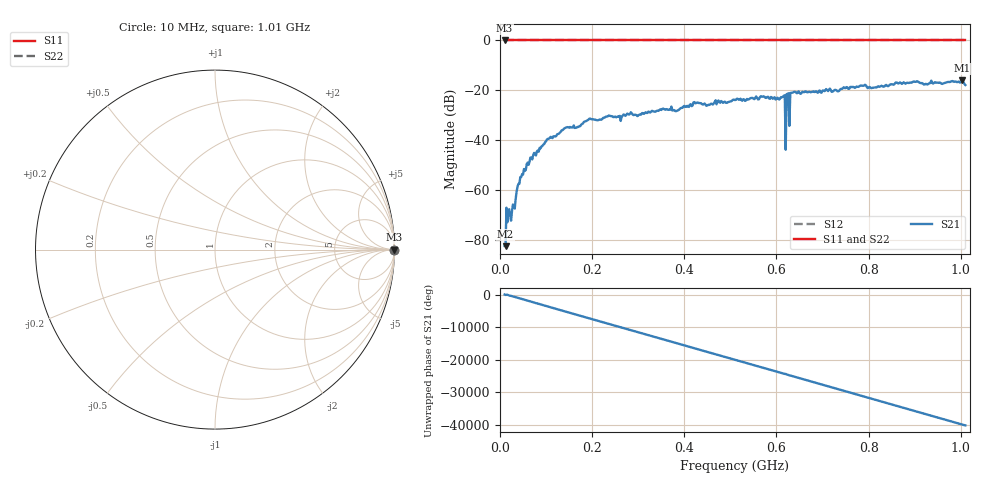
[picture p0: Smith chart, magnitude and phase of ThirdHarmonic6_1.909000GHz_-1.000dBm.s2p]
! 8/16/2025 11:02:04 PM
! C:\ANRITSUVNA\TEMP\TEMP.S2P
! CHANNEL.1
! TR.MEASUREMENT
! RAW.DATA
! RF.CORRECTION.OFF
! AVERAGING.OFF
! IF.BANDWIDTH: 5KHZ
! SWEEPTYPE:  FREQ.SWEEP(Linear)
! Reference Plane Port Info
! PORT:  PORT1  PORT2
! DISTANCE:  0  m  0  m
! TIME:  0  s  0  s
! PHASE.OFFSET:  0  deg.  0  deg.
! LOSS:  0  dB  0  dB
! REF.LOSS:  0  dB  0  dB
! REF.FREQ:  0  Hz  0  Hz
! Power Info
! POWER:  -20  dBm  -20  dBm
! EFF.POWER:  -20  dBm  -20  dBm
! SOURCE.ATTEN:  0  dB  0  dB
! TEST.ATTEN:  0  dB  0  dB
# GHZ S RI R 50.0
! FREQ.GHZ  S11RE  S11IM  S21RE  S21IM  S12RE  S12IM  S22RE  S22IM
!; PortSelection: Port_12
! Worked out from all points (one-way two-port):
!   501 points, 10 MHz to 1.01 GHz, reference 50 ohm
!   highest |S21| = -16.02 dB at 1.002 GHz (marker M1); lowest = -82.7 dB at 12 MHz (marker M2)
!   lowest |S11| = 0.0 dB at 10 MHz (marker M3)
!   |S11| at or under -10 dB: nowhere
!   |S22| runs from 0.0 to 0.0 dB; largest |S21 - S12| = 1.2
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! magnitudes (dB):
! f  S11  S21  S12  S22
! 10 MHz  0.0  -82.6  0.0  0.0
! 12 MHz  0.0  -82.7  0.0  0.0
! 18 MHz  0.0  -68.0  0.0  0.0
! 28 MHz  0.0  -65.9  0.0  0.0
! 42 MHz  0.0  -57.6  0.0  0.0
! 70 MHz  0.0  -47.8  0.0  0.0
! 106 MHz  0.0  -39.5  0.0  0.0
! 178 MHz  0.0  -33.6  0.0  0.0
! 196 MHz  0.0  -31.4  0.0  0.0
! 344 MHz  0.0  -28.3  0.0  0.0
! 510 MHz  0.0  -24.0  0.0  0.0
! 614 MHz  0.0  -22.6  0.0  0.0
! 616 MHz  0.0  -22.3  0.0  0.0
! 622 MHz  0.0  -21.6  0.0  0.0
! 624 MHz  0.0  -21.5  0.0  0.0
! 626 MHz  0.0  -21.2  0.0  0.0
! 632 MHz  0.0  -21.1  0.0  0.0
! 634 MHz  0.0  -21.0  0.0  0.0
! 678 MHz  0.0  -20.6  0.0  0.0
! 844 MHz  0.0  -18.2  0.0  0.0
! 1.002 GHz  0.0  -16.0  0.0  0.0
! 1.01 GHz  0.0  -17.9  0.0  0.0
